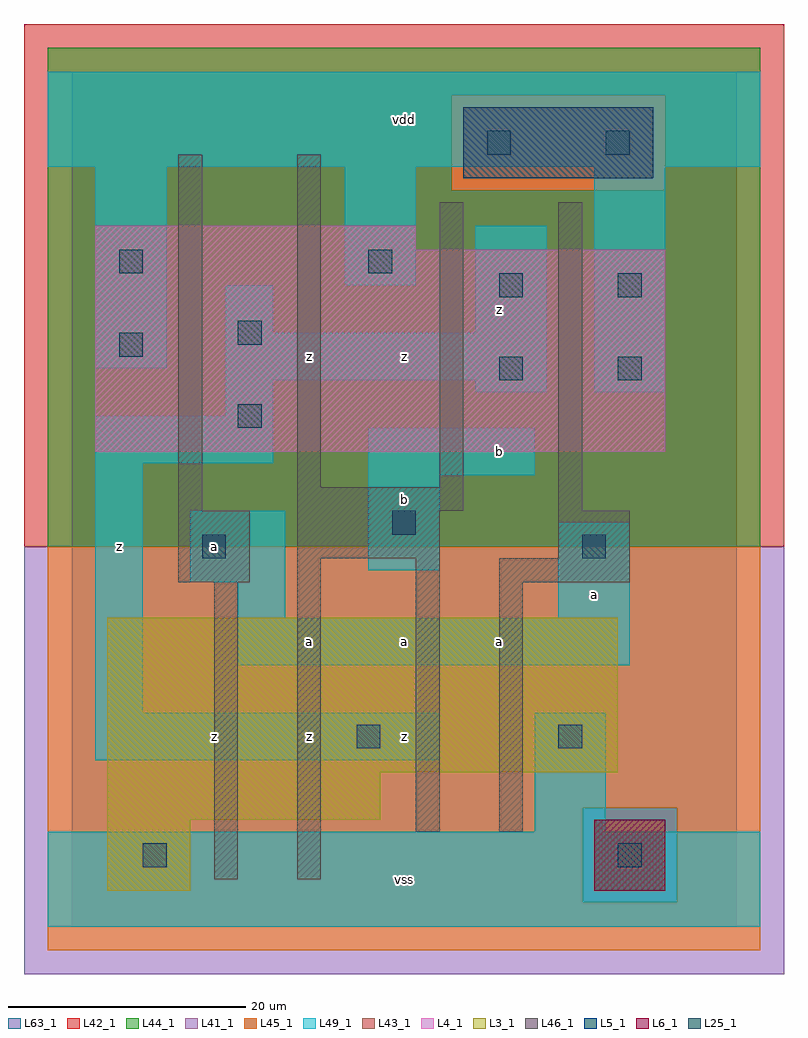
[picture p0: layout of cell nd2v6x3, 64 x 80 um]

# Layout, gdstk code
import gdstk
lib = gdstk.Library(unit=1e-6, precision=1e-09)
def R(c, l, rs):  # rectangles x0, y0, x1, y1
    for r in rs: c.add(gdstk.rectangle(r[:2], r[2:], *l))
L3_1 = (3, 1)
L4_1 = (4, 1)
L5_1 = (5, 1)
L6_1 = (6, 1)
L25_1 = (25, 1)
L41_1 = (41, 1)
L42_1 = (42, 1)
L43_1 = (43, 1)
L44_1 = (44, 1)
L45_1 = (45, 1)
L46_1 = (46, 1)
L49_1 = (49, 1)
L63_1 = (63, 1)

nd2v6x3 = lib.new_cell('nd2v6x3')
R(nd2v6x3, L3_1, [(3,3,10,9), (3,9,26,13), (3,13,46,26)])
R(nd2v6x3, L4_1, [(2,40,50,57), (2,57,29,59)])
R(nd2v6x3, L5_1, [(33,63,49,69)])
R(nd2v6x3, L6_1, [(44,3,50,9), (44,3,50,9)])
R(nd2v6x3, L25_1, [(6,5,8,7), (46,5,48,7), (24,15,26,17), (41,15,43,17), (11,31,13,33), (43,31,45,33), (27,33,29,35), (14,42,16,44), (36,46,38,48), (46,46,48,48), (4,48,6,50), (14,49,16,51), (36,53,38,55), (46,53,48,55), (4,55,6,57), (25,55,27,57), (35,65,37,67), (45,65,47,67)])
R(nd2v6x3, L41_1, [(-4,-4,60,32)])
R(nd2v6x3, L42_1, [(-4,32,60,76)])
R(nd2v6x3, L43_1, [(3,3,10,9), (44,3,50,9), (3,9,26,13), (3,13,46,26), (2,40,50,57), (2,57,29,59), (33,63,49,69)])
R(nd2v6x3, L44_1, [(43,2,51,10), (-2,32,58,62), (-2,62,32,70), (50,62,58,70), (-2,70,58,74)])
R(nd2v6x3, L45_1, [(-2,-2,58,2), (-2,2,43,10), (51,2,58,10), (-2,10,58,32), (32,62,50,70)])
R(nd2v6x3, L46_1, [(12,4,14,29), (19,4,21,31), (29,8,31,31), (36,8,38,29), (9,29,15,35), (36,29,47,31), (19,31,31,35), (41,31,47,35), (9,35,11,65), (19,35,33,37), (41,35,43,61), (19,37,21,65), (31,37,33,61)])
R(nd2v6x3, L49_1, [(-2,0,58,8), (39,8,45,18), (2,14,31,18), (2,18,6,39), (14,22,47,26), (14,26,18,29), (41,26,47,34), (10,29,18,35), (25,30,31,38), (25,38,39,42), (2,39,17,43), (13,43,17,46), (34,45,40,46), (44,45,50,64), (13,46,40,50), (2,47,8,64), (13,50,17,54), (34,50,40,59), (23,54,29,64), (-2,64,58,72)])
R(nd2v6x3, L63_1, [(0,0,56,72)])
nd2v6x3.add(gdstk.Label('z', (4,32), layer=49, texttype=1))
nd2v6x3.add(gdstk.Label('z', (20,16), layer=49, texttype=1))
nd2v6x3.add(gdstk.Label('z', (12,16), layer=49, texttype=1))
nd2v6x3.add(gdstk.Label('a', (12,32), layer=49, texttype=1))
nd2v6x3.add(gdstk.Label('a', (20,24), layer=49, texttype=1))
nd2v6x3.add(gdstk.Label('z', (20,48), layer=49, texttype=1))
nd2v6x3.add(gdstk.Label('vss', (28,4), layer=49, texttype=1))
nd2v6x3.add(gdstk.Label('z', (28,16), layer=49, texttype=1))
nd2v6x3.add(gdstk.Label('a', (28,24), layer=49, texttype=1))
nd2v6x3.add(gdstk.Label('a', (36,24), layer=49, texttype=1))
nd2v6x3.add(gdstk.Label('b', (36,40), layer=49, texttype=1))
nd2v6x3.add(gdstk.Label('b', (28,36), layer=49, texttype=1))
nd2v6x3.add(gdstk.Label('z', (28,48), layer=49, texttype=1))
nd2v6x3.add(gdstk.Label('z', (36,52), layer=49, texttype=1))
nd2v6x3.add(gdstk.Label('vdd', (28,68), layer=49, texttype=1))
nd2v6x3.add(gdstk.Label('a', (44,28), layer=49, texttype=1))

lib.write_gds('nd2v6x3.gds')
